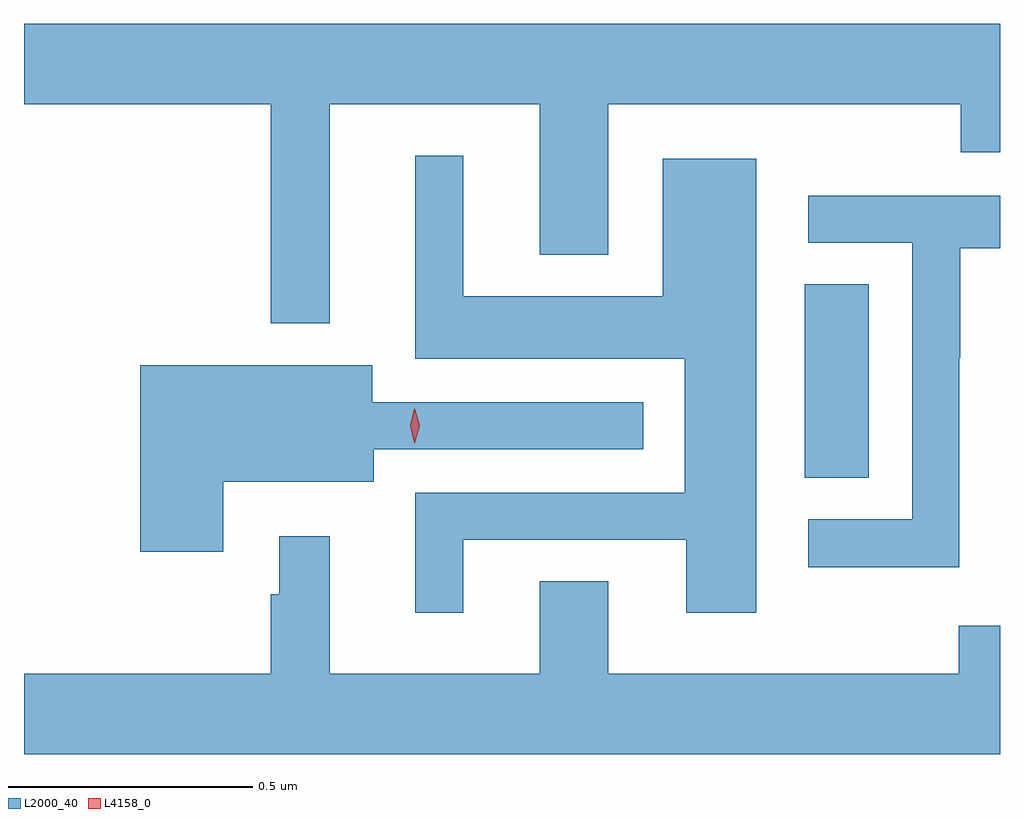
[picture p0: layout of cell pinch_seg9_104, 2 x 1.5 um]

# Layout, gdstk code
import gdstk
lib = gdstk.Library(unit=1e-6, precision=1e-09)
def R(c, l, rs):  # rectangles x0, y0, x1, y1
    for r in rs: c.add(gdstk.rectangle(r[:2], r[2:], *l))
def P(c, l, *ps):  # polygons
    for p in ps: c.add(gdstk.Polygon(p, *l))
L2000_40 = (2000, 40)
L4158_0 = (4158, 0)

pinch_seg9_104 = lib.new_cell('pinch_seg9_104')
R(pinch_seg9_104, L2000_40, [(1078.892,1187.662,1079.023,1188.059)])
P(pinch_seg9_104, L2000_40, [(1077.919,1188.428),(1078.349,1188.428),(1078.349,1188.119),(1078.489,1188.119),(1078.489,1188.428),(1079.212,1188.428),(1079.212,1188.329),(1079.292,1188.329),(1079.292,1188.592),(1077.292,1188.592),(1077.292,1188.428),(1077.798,1188.428),(1077.798,1187.979),(1077.919,1187.979)],
  [(1078.192,1187.535),(1078.649,1187.535),(1078.649,1187.385),(1078.792,1187.385),(1078.792,1188.316),(1078.601,1188.316),(1078.601,1188.034),(1078.192,1188.034),(1078.192,1188.322),(1078.094,1188.322),(1078.094,1187.906),(1078.646,1187.906),(1078.646,1187.631),(1078.094,1187.631),(1078.094,1187.385),(1078.192,1187.385)],
  [(1079.208,1187.908),(1079.211,1187.908),(1079.211,1188.132),(1079.292,1188.132),(1079.292,1188.24),(1078.899,1188.24),(1078.899,1188.144),(1079.112,1188.144),(1079.112,1187.577),(1078.899,1187.577),(1078.899,1187.479),(1079.208,1187.479)],
  [(1077.7,1187.654),(1078.009,1187.654),(1078.009,1187.721),(1078.561,1187.721),(1078.561,1187.817),(1078.006,1187.817),(1078.006,1187.893),(1077.53,1187.893),(1077.53,1187.511),(1077.7,1187.511)],
  [(1079.292,1187.359),(1079.207,1187.359),(1079.207,1187.26),(1078.489,1187.26),(1078.489,1187.45),(1078.349,1187.45),(1078.349,1187.26),(1077.919,1187.26),(1077.919,1187.542),(1077.815,1187.542),(1077.815,1187.423),(1077.798,1187.423),(1077.798,1187.26),(1077.292,1187.26),(1077.292,1187.096),(1079.292,1187.096)])
P(pinch_seg9_104, L4158_0, [(1078.093,1187.733),(1078.092,1187.734),(1078.083,1187.769),(1078.092,1187.804),(1078.093,1187.804),(1078.093,1187.804),(1078.103,1187.769),(1078.093,1187.734)])

lib.write_gds('pinch_seg9_104.gds')
